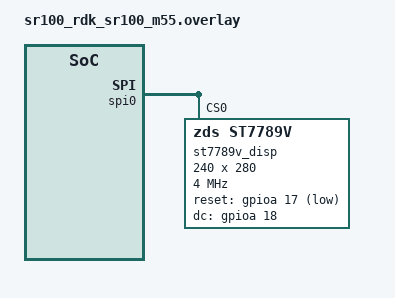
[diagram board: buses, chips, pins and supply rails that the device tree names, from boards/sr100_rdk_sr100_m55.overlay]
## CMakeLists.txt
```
cmake_minimum_required(VERSION 3.20.0)

# Custom "zds,st7789v" devicetree binding (same as Lab 11) -- DTS_ROOT must
# be extended BEFORE find_package(Zephyr...) runs, or the devicetree
# compiler won't find it.
list(APPEND DTS_ROOT ${CMAKE_CURRENT_SOURCE_DIR})

find_package(Zephyr REQUIRED HINTS $ENV{ZEPHYR_BASE})
project(lab12_env_logging_host)

target_sources(app PRIVATE src/main.c)
target_include_directories(app PRIVATE include)
```

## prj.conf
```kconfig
CONFIG_MBOX=y
CONFIG_SPI=y
CONFIG_GPIO=y
# No CONFIG_DISPLAY / CONFIG_CHARACTER_FRAMEBUFFER / CONFIG_ST7789V -- same
# raw-SPI approach as Lab 11 (see that lab's prj.conf comment).
CONFIG_MAIN_STACK_SIZE=4096
# ns16550_uart1 (M55's only UART/console) is disabled in the devicetree
# overlay because SPI0 reuses its pins -- see Lab 11's prj.conf comment
# for why CONFIG_UART_CONSOLE=n/CONFIG_CONSOLE=n (and NOT CONFIG_SERIAL=n)
# is the correct fix.
CONFIG_UART_CONSOLE=n
CONFIG_CONSOLE=n
CONFIG_LOG=y
CONFIG_LOG_DEFAULT_LEVEL=3
CONFIG_PRINTK=y
```

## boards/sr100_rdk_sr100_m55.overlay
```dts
#include <zephyr/dt-bindings/gpio/gpio.h>

/* ipc0 shared-memory-size must match the M4 overlay in remote/boards/ exactly. */
&ipc0 {
	shared-memory-size = <0x400>;
};

/*
 * This lab's sensors (AHT20+BMP280) live on M4's &i2c0, not the shared
 * &i2c1 bus -- so unlike every other lab in this curriculum, M55
 * disabling &i2c1 here isn't strictly required for THIS lab's own
 * sensors. It's kept anyway for consistency with the rest of the
 * curriculum (M55 never uses i2c1 in any lab) and because it's harmless.
 */
&i2c1 {
	status = "disabled";
};

&gpio_exp0 {
	status = "disabled";
};

&ov02c10 {
	status = "disabled";
};

/*
 * ST7789V3 1.69" 240x280 color TFT on M55's SPI0 -- identical setup to
 * Lab 11 (same panel, same wiring, same raw-SPI "zds,st7789v" custom
 * binding). See Lab 11's doc/README for the full rationale (why raw SPI
 * instead of Zephyr's in-tree display driver, the level-shifter
 * requirement, the SPI0 FIFO chunking, and the SPI0/UART1 console pin
 * conflict this creates).
 */
&ns16550_uart1 {
	status = "disabled";
};

&spi0 {
	#address-cells = <1>;
	#size-cells = <0>;
	status = "okay";
	pinctrl-0 = <&spi_mstr_mosi &spi_mstr_miso &spi_mstr_clk &spi_mstr_cs>;
	pinctrl-names = "default";

	st7789v_disp: st7789v@0 {
		compatible = "zds,st7789v";
		reg = <0>;
		spi-max-frequency = <4000000>;
		reset-gpios = <&gpioa 17 GPIO_ACTIVE_LOW>;  /* SoC GPIO17, J24 pin 3 - through level shifter */
		dc-gpios = <&gpioa 18 GPIO_ACTIVE_HIGH>;    /* SoC GPIO18, J24 pin 4 - through level shifter */
		width = <240>;
		height = <280>;
		x-offset = <0>;
		y-offset = <20>;
	};
};
```

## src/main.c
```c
/*
 * Lab 12: AHT20 + BMP280 Environment Logging (HOST, M55)
 *
 * Receives temperature/humidity/pressure telemetry from M4 (the regular
 * 1s averages, the immediate out-of-band jump events, and now the
 * immediate sensor-read-error events) and renders them on the same
 * ST7789V3 TFT hardware setup as Lab 11 (identical panel, identical
 * SPI0/RESET/DC wiring, identical raw-SPI driver -- see this lab's
 * doc/12_aht20_bmp280_logging_kr.md for the full pin table and
 * level-shifter rationale, reproduced there rather than only in Lab 11's
 * doc, since each lab in this curriculum is meant to be buildable and
 * understandable on its own).
 *
 * Two INDEPENDENT fault indicators are shown, because they are two
 * independent failure modes on the M4 side:
 *   1. Connection status (top): did a message of ANY kind arrive from M4
 *      in the last 2 seconds? If not, the mbox/IPC link itself (or the
 *      whole M4 core) is assumed down. This does NOT necessarily mean a
 *      sensor is broken -- M4 could be alive but stuck.
 *   2. Sensor status (just below it): per the LATEST message's
 *      `error_mask`, did AHT20 and/or BMP280 fail their most recent I2C
 *      read? This can be true even while the connection is perfectly
 *      healthy -- M4 is alive and talking, but one of its sensors isn't
 *      answering (loose wire, sensor dropped off the bus, etc).
 * Mixing these two into a single indicator would hide which of "M4 died"
 * vs "a sensor died but M4 is fine" actually happened, so they're kept
 * as two separate lines on screen.
 */

#include <zephyr/kernel.h>
#include <zephyr/device.h>
#include <zephyr/devicetree.h>
#include <zephyr/drivers/spi.h>
#include <zephyr/drivers/gpio.h>
#include <zephyr/drivers/mbox.h>
#include <zephyr/logging/log.h>
#include <zephyr/sys/util.h>
#include <stdbool.h>
#include <stdio.h>
#include <string.h>
#include <stdlib.h>
#include "ipc_common.h"

LOG_MODULE_REGISTER(lab12_host, CONFIG_LOG_DEFAULT_LEVEL);

#define TASK_STACK_SIZE 2048
#define TASK_PRIORITY   4
#define POLL_TIMEOUT_MS 500   /* how often Display_Task checks for a connection timeout */
#define CONN_TIMEOUT_MS 2000  /* no message from M4 for this long -> "disconnected" */

K_THREAD_STACK_DEFINE(task_stack, TASK_STACK_SIZE);
static struct k_thread task_data;
K_MSGQ_DEFINE(env_msgq, sizeof(struct ipc12_env_msg), 4, 4);

#define DISP_NODE DT_NODELABEL(st7789v_disp)

#define PANEL_WIDTH   DT_PROP(DISP_NODE, width)
#define PANEL_HEIGHT  DT_PROP(DISP_NODE, height)
#define X_OFFSET      DT_PROP(DISP_NODE, x_offset)
#define Y_OFFSET      DT_PROP(DISP_NODE, y_offset)

/* ST7789 command set (same subset as Lab 11). */
#define ST7789_SWRESET   0x01
#define ST7789_SLPOUT    0x11
#define ST7789_COLMOD    0x3A
#define ST7789_MADCTL    0x36
#define ST7789_INVON     0x21
#define ST7789_NORON     0x13
#define ST7789_DISPON    0x29
#define ST7789_CASET     0x2A
#define ST7789_RASET     0x2B
#define ST7789_RAMWR     0x2C
#define ST7789_PORCTRL   0xB2
#define ST7789_GCTRL     0xB7
#define ST7789_VCOMS     0xBB
#define ST7789_LCMCTRL   0xC0
#define ST7789_VDVVRHEN  0xC2
#define ST7789_VRHS      0xC3
#define ST7789_VDVS      0xC4
#define ST7789_FRCTRL2   0xC6
#define ST7789_PWCTRL1   0xD0
#define ST7789_PVGAMCTRL 0xE0
#define ST7789_NVGAMCTRL 0xE1

/* RGB565 colors. */
#define COLOR_BLACK   0x0000
#define COLOR_WHITE   0xFFFF
#define COLOR_RED     0xF800
#define COLOR_GREEN   0x07E0
#define COLOR_YELLOW  0xFFE0
#define COLOR_CYAN    0x07FF
#define COLOR_GRAY    0x8410

static const struct spi_dt_spec spi_spec =
	SPI_DT_SPEC_GET(DISP_NODE, SPI_WORD_SET(8) | SPI_TRANSFER_MSB, 0);
static const struct gpio_dt_spec reset_spec = GPIO_DT_SPEC_GET(DISP_NODE, reset_gpios);
static const struct gpio_dt_spec dc_spec = GPIO_DT_SPEC_GET(DISP_NODE, dc_gpios);

/*
 * 5x7 font table. The entries carried over from Lab 11 are marked
 * "(Lab 11)"; everything else added for this lab's unit labels
 * ("T:23.5C", "H:45.2%", "P:1013.2hPa", "OK"/"LOST") is NEW and, like
 * Lab 11's additions, taken from the classic public-domain 5x7
 * "glcdfont" table without individual re-verification against this
 * panel -- check here first if a character looks wrong.
 */
struct glyph {
	char ch;
	uint8_t cols[5];
};

static const struct glyph font5x7[] = {
	{' ', {0x00, 0x00, 0x00, 0x00, 0x00}}, /* (Lab 11) */
	{'-', {0x08, 0x08, 0x08, 0x08, 0x08}}, /* (Lab 11) */
	{':', {0x00, 0x36, 0x36, 0x00, 0x00}}, /* (Lab 11) */
	{'.', {0x00, 0x60, 0x60, 0x00, 0x00}},
	{'%', {0x23, 0x13, 0x08, 0x64, 0x62}},
	{'0', {0x3E, 0x51, 0x49, 0x45, 0x3E}}, /* (Lab 11) */
	{'1', {0x00, 0x42, 0x7F, 0x40, 0x00}}, /* (Lab 11) */
	{'2', {0x62, 0x51, 0x49, 0x49, 0x46}}, /* (Lab 11) */
	{'3', {0x22, 0x41, 0x49, 0x49, 0x36}}, /* (Lab 11) */
	{'4', {0x18, 0x14, 0x12, 0x7F, 0x10}}, /* (Lab 11) */
	{'5', {0x27, 0x45, 0x45, 0x45, 0x39}}, /* (Lab 11) */
	{'6', {0x3C, 0x4A, 0x49, 0x49, 0x30}}, /* (Lab 11) */
	{'7', {0x01, 0x71, 0x09, 0x05, 0x03}}, /* (Lab 11) */
	{'8', {0x36, 0x49, 0x49, 0x49, 0x36}}, /* (Lab 11) */
	{'9', {0x06, 0x49, 0x49, 0x29, 0x1E}}, /* (Lab 11) */
	{'A', {0x7E, 0x11, 0x11, 0x11, 0x7E}}, /* (Lab 11) */
	{'B', {0x7F, 0x49, 0x49, 0x49, 0x36}}, /* (Lab 11) */
	{'C', {0x3E, 0x41, 0x41, 0x41, 0x22}},
	{'D', {0x7F, 0x41, 0x41, 0x22, 0x1C}},
	{'E', {0x7F, 0x49, 0x49, 0x49, 0x41}}, /* (Lab 11) */
	{'H', {0x7F, 0x08, 0x08, 0x08, 0x7F}},
	{'I', {0x00, 0x41, 0x7F, 0x41, 0x00}},
	{'K', {0x7F, 0x08, 0x14, 0x22, 0x41}},
	{'L', {0x7F, 0x40, 0x40, 0x40, 0x40}}, /* (Lab 11) */
	{'N', {0x7F, 0x02, 0x04, 0x08, 0x7F}},
	{'O', {0x3E, 0x41, 0x41, 0x41, 0x3E}},
	{'P', {0x7F, 0x09, 0x09, 0x09, 0x06}},
	{'Q', {0x3E, 0x41, 0x51, 0x21, 0x5E}}, /* (Lab 11) */
	{'R', {0x7F, 0x09, 0x19, 0x29, 0x46}}, /* (Lab 11) */
	{'S', {0x46, 0x49, 0x49, 0x49, 0x31}}, /* (Lab 11) */
	{'T', {0x01, 0x01, 0x7F, 0x01, 0x01}},
	{'V', {0x1F, 0x20, 0x40, 0x20, 0x1F}}, /* (Lab 11) */
	{'X', {0x63, 0x14, 0x08, 0x14, 0x63}}, /* (Lab 11) */
	{'Y', {0x07, 0x08, 0x70, 0x08, 0x07}}, /* (Lab 11) */
	{'Z', {0x61, 0x51, 0x49, 0x45, 0x43}}, /* (Lab 11) */
	{'a', {0x20, 0x54, 0x54, 0x54, 0x78}},
	{'h', {0x7F, 0x08, 0x04, 0x04, 0x78}},
};

static const uint8_t *glyph_lookup(char c)
{
	static const uint8_t blank[5] = {0x00, 0x00, 0x00, 0x00, 0x00};

	for (size_t i = 0; i < ARRAY_SIZE(font5x7); i++) {
		if (font5x7[i].ch == c) {
			return font5x7[i].cols;
		}
	}
	return blank;
}

/* SR110 SPI0's 8-byte hardware FIFO limit -- see Lab 11 for the full
 * explanation. Every send chunks to this size. */
#define ST7789_CHUNK_BYTES 8

static int st7789_send(int dc_value, const uint8_t *data, size_t len)
{
	int ret;

	gpio_pin_set_dt(&dc_spec, dc_value);

	while (len) {
		size_t chunk = MIN(len, ST7789_CHUNK_BYTES);
		struct spi_buf buf = { .buf = (void *)data, .len = chunk };
		struct spi_buf_set set = { .buffers = &buf, .count = 1 };

		ret = spi_write_dt(&spi_spec, &set);
		if (ret) {
			LOG_ERR("spi_write_dt(dc=%d, len=%zu) failed, ret=%d", dc_value, chunk, ret);
			return ret;
		}
		data += chunk;
		len -= chunk;
	}

	return 0;
}

static int st7789_write_cmd(uint8_t cmd)
{
	return st7789_send(0, &cmd, 1);
}

static int st7789_write_data(const uint8_t *data, size_t len)
{
	return st7789_send(1, data, len);
}

static int st7789_reset(void)
{
	int ret = gpio_pin_configure_dt(&reset_spec, GPIO_OUTPUT_INACTIVE);

	if (ret) {
		return ret;
	}
	k_sleep(K_MSEC(10));
	gpio_pin_set_dt(&reset_spec, 1);
	k_sleep(K_MSEC(10));
	gpio_pin_set_dt(&reset_spec, 0);
	k_sleep(K_MSEC(150));

	return 0;
}

struct st7789_init_cmd {
	uint8_t cmd;
	uint8_t num_args;
	uint8_t args[16];
	uint16_t delay_ms;
};

static const struct st7789_init_cmd init_seq[] = {
	{ ST7789_SWRESET,   0, {0}, 150 },
	{ ST7789_SLPOUT,    0, {0}, 255 },
	{ ST7789_COLMOD,    1, {0x55}, 10 },
	{ ST7789_PORCTRL,   5, {0x0C, 0x0C, 0x00, 0x33, 0x33}, 0 },
	{ ST7789_GCTRL,     1, {0x35}, 0 },
	{ ST7789_VCOMS,     1, {0x28}, 0 },
	{ ST7789_LCMCTRL,   1, {0x0C}, 0 },
	{ ST7789_VDVVRHEN,  2, {0x01, 0xFF}, 0 },
	{ ST7789_VRHS,      1, {0x10}, 0 },
	{ ST7789_VDVS,      1, {0x20}, 0 },
	{ ST7789_FRCTRL2,   1, {0x0F}, 0 },
	{ ST7789_PWCTRL1,   2, {0xA4, 0xA1}, 0 },
	{ ST7789_MADCTL,    1, {0x00}, 0 },
	{ ST7789_INVON,     0, {0}, 10 },
	{ ST7789_PVGAMCTRL, 14, {0xD0, 0x00, 0x02, 0x07, 0x0A, 0x28, 0x32, 0x44,
				 0x42, 0x06, 0x0E, 0x12, 0x14, 0x17}, 0 },
	{ ST7789_NVGAMCTRL, 14, {0xD0, 0x00, 0x02, 0x07, 0x05, 0x25, 0x2D, 0x44,
				 0x45, 0x10, 0x0E, 0x12, 0x13, 0x17}, 0 },
	{ ST7789_NORON,     0, {0}, 10 },
	{ ST7789_DISPON,    0, {0}, 100 },
};

static int st7789_init(void)
{
	int ret;

	for (size_t i = 0; i < ARRAY_SIZE(init_seq); i++) {
		ret = st7789_write_cmd(init_seq[i].cmd);
		if (ret) return ret;

		if (init_seq[i].num_args) {
			ret = st7789_write_data(init_seq[i].args, init_seq[i].num_args);
			if (ret) return ret;
		}
		if (init_seq[i].delay_ms) {
			k_sleep(K_MSEC(init_seq[i].delay_ms));
		}
	}

	return 0;
}

static int st7789_set_addr_window(uint16_t x0, uint16_t y0, uint16_t x1, uint16_t y1)
{
	uint16_t xs = x0 + X_OFFSET, xe = x1 + X_OFFSET;
	uint16_t ys = y0 + Y_OFFSET, ye = y1 + Y_OFFSET;
	uint8_t caset[4] = { xs >> 8, xs & 0xFF, xe >> 8, xe & 0xFF };
	uint8_t raset[4] = { ys >> 8, ys & 0xFF, ye >> 8, ye & 0xFF };
	int ret;

	ret = st7789_write_cmd(ST7789_CASET);
	if (ret) return ret;
	ret = st7789_write_data(caset, sizeof(caset));
	if (ret) return ret;

	ret = st7789_write_cmd(ST7789_RASET);
	if (ret) return ret;
	ret = st7789_write_data(raset, sizeof(raset));
	if (ret) return ret;

	return st7789_write_cmd(ST7789_RAMWR);
}

static int st7789_fill_rect(uint16_t x, uint16_t y, uint16_t w, uint16_t h, uint16_t color)
{
	uint8_t row[PANEL_WIDTH * 2];
	int ret;

	ret = st7789_set_addr_window(x, y, x + w - 1, y + h - 1);
	if (ret) return ret;

	for (uint16_t i = 0; i < w; i++) {
		row[i * 2] = color >> 8;
		row[i * 2 + 1] = color & 0xFF;
	}

	for (uint16_t line = 0; line < h; line++) {
		ret = st7789_write_data(row, (size_t)w * 2);
		if (ret) return ret;
	}

	return 0;
}

static int st7789_draw_char(uint16_t x, uint16_t y, char c, uint16_t fg, uint16_t bg, uint8_t scale)
{
	const uint8_t *glyph = glyph_lookup(c);
	uint8_t row[5 * 8 * 2];
	int ret;

	ret = st7789_set_addr_window(x, y, x + 5 * scale - 1, y + 7 * scale - 1);
	if (ret) return ret;

	for (uint8_t srow = 0; srow < 7; srow++) {
		for (uint8_t scol = 0; scol < 5; scol++) {
			bool on = (glyph[scol] >> srow) & 0x1;
			uint16_t color = on ? fg : bg;

			for (uint8_t sx = 0; sx < scale; sx++) {
				size_t idx = (scol * scale + sx) * 2;

				row[idx] = color >> 8;
				row[idx + 1] = color & 0xFF;
			}
		}
		for (uint8_t sy = 0; sy < scale; sy++) {
			ret = st7789_write_data(row, (size_t)5 * scale * 2);
			if (ret) return ret;
		}
	}

	return 0;
}

static int st7789_draw_string(uint16_t x, uint16_t y, const char *str, uint16_t fg, uint16_t bg, uint8_t scale)
{
	int ret;

	while (*str) {
		ret = st7789_draw_char(x, y, *str++, fg, bg, scale);
		if (ret) return ret;
		x += 6 * scale;
	}
	return 0;
}

/* Prints one line padded with spaces to a fixed width, so a shorter new
 * value fully overwrites a longer old one without a separate clear. */
static void draw_line(uint16_t x, uint16_t y, const char *text, uint16_t fg, size_t width)
{
	char padded[24];
	size_t len = strlen(text);

	if (width >= sizeof(padded)) {
		width = sizeof(padded) - 1;
	}
	if (len > width) {
		len = width;
	}
	memcpy(padded, text, len);
	for (size_t i = len; i < width; i++) {
		padded[i] = ' ';
	}
	padded[width] = '\0';

	st7789_draw_string(x, y, padded, fg, COLOR_BLACK, 2);
}

/* Formats a milli-unit fixed-point value as "[-]W.F" (one decimal digit)
 * into `out` -- avoids depending on floating-point printf support. */
static void format_milli_1dp(int32_t milli, char *out, size_t outsz)
{
	bool neg = milli < 0;
	int32_t m = neg ? -milli : milli;
	int32_t whole = m / 1000;
	int32_t frac = (m % 1000) / 100;

	snprintf(out, outsz, "%s%d.%d", neg ? "-" : "", whole, frac);
}

enum conn_state { CONN_WAITING, CONN_OK, CONN_LOST };

static void draw_status(enum conn_state state)
{
	uint16_t icon_color;
	const char *label;

	switch (state) {
	case CONN_OK:
		icon_color = COLOR_GREEN;
		label = "OK";
		break;
	case CONN_LOST:
		icon_color = COLOR_RED;
		label = "LOST";
		break;
	default:
		icon_color = COLOR_GRAY;
		label = "WAIT";
		break;
	}

	/* Simple filled-square "icon" (this font/driver has no circle
	 * primitive) plus a short text label -- covers both the "icon if
	 * possible" and "text otherwise" request at once. */
	st7789_fill_rect(10, 40, 16, 16, icon_color);
	draw_line(34, 40, label, COLOR_WHITE, 6);
}

/*
 * Separate from draw_status() above on purpose -- see the file header
 * comment for why connection health and sensor health are shown as two
 * independent indicators instead of one. error_mask bits come straight
 * from the M4-side IPC12_ERROR_* flags: bit0 = AHT20 failing its most
 * recent read, bit1 = BMP280 failing its most recent read.
 */
static void draw_sensor_status(uint8_t error_mask)
{
	uint16_t icon_color;
	const char *label;

	if (!error_mask) {
		icon_color = COLOR_GREEN;
		label = "SENSOR OK";
	} else if ((error_mask & (IPC12_ERROR_AHT20 | IPC12_ERROR_BMP280)) ==
		   (IPC12_ERROR_AHT20 | IPC12_ERROR_BMP280)) {
		icon_color = COLOR_RED;
		label = "SENSOR ERR"; /* both sensors failing */
	} else if (error_mask & IPC12_ERROR_AHT20) {
		icon_color = COLOR_RED;
		label = "AHT20 ERR";
	} else {
		icon_color = COLOR_RED;
		label = "BMP280 ERR";
	}

	st7789_fill_rect(10, 62, 16, 16, icon_color);
	draw_line(34, 62, label, COLOR_WHITE, 11);
}

static void rx_cb(const struct device *dev, mbox_channel_id_t channel_id,
		   void *user_data, struct mbox_msg *data)
{
	struct ipc12_env_msg msg;

	ARG_UNUSED(dev);
	ARG_UNUSED(channel_id);
	ARG_UNUSED(user_data);

	if (data->size < sizeof(msg)) {
		return;
	}
	memcpy(&msg, data->data, sizeof(msg));
	/* SPI drawing blocks -- ISR only enqueues, Display_Task does the work. */
	k_msgq_put(&env_msgq, &msg, K_NO_WAIT);
}

static void task_entry(void *p1, void *p2, void *p3)
{
	struct ipc12_env_msg msg;
	char line[24];
	int64_t last_rx_uptime = 0;
	bool ever_connected = false;
	enum conn_state state = CONN_WAITING;

	LOG_INF("[Display_Task] started");

	if (!spi_is_ready_dt(&spi_spec)) {
		LOG_ERR("SPI0 device not ready - check devicetree status/overlay");
		return;
	}
	if (!gpio_is_ready_dt(&reset_spec) || !gpio_is_ready_dt(&dc_spec)) {
		LOG_ERR("RST/DC GPIO controller not ready");
		return;
	}
	if (gpio_pin_configure_dt(&dc_spec, GPIO_OUTPUT_INACTIVE)) {
		LOG_ERR("DC GPIO configure failed");
		return;
	}
	if (st7789_reset()) {
		LOG_ERR("Panel reset failed - check RST wiring");
		return;
	}
	if (st7789_init()) {
		LOG_ERR("ST7789 init failed (SPI write error) - check wiring / level shifter");
		return;
	}

	st7789_fill_rect(0, 0, PANEL_WIDTH, PANEL_HEIGHT, COLOR_BLACK);
	st7789_draw_string(10, 10, "LAB12 ENV", COLOR_YELLOW, COLOR_BLACK, 2);
	draw_status(CONN_WAITING);
	draw_sensor_status(0);
	draw_line(10, 90, "T:--", COLOR_WHITE, 12);
	draw_line(10, 120, "H:--", COLOR_WHITE, 12);
	draw_line(10, 150, "P:--", COLOR_WHITE, 12);

	while (1) {
		int ret = k_msgq_get(&env_msgq, &msg, K_MSEC(POLL_TIMEOUT_MS));

		if (ret == 0) {
			last_rx_uptime = k_uptime_get();
			ever_connected = true;
			if (state != CONN_OK) {
				state = CONN_OK;
				draw_status(state);
			}

			char temp_str[8], hum_str[8], press_str[8];
			bool have_aht20 = (msg.sensor_mask & IPC12_SENSOR_AHT20) != 0;
			bool have_bmp280 = (msg.sensor_mask & IPC12_SENSOR_BMP280) != 0;
			bool aht20_failing = (msg.error_mask & IPC12_ERROR_AHT20) != 0;
			bool bmp280_failing = (msg.error_mask & IPC12_ERROR_BMP280) != 0;

			draw_sensor_status(msg.error_mask);

			/* Temperature: AHT20 is the primary source. Fall back to
			 * BMP280's own temperature reading whenever AHT20 wasn't
			 * found at boot at all, OR it was found but is currently
			 * failing to read (error_mask) -- in both cases the
			 * `temp_milli_c` field already carries BMP280's value,
			 * see M4's main.c. Only if BOTH possible sources are
			 * unavailable/failing do we show an outright error. */
			if (have_aht20 && !aht20_failing) {
				format_milli_1dp(msg.temp_milli_c, temp_str, sizeof(temp_str));
				snprintf(line, sizeof(line), "T:%sC", temp_str);
			} else if (have_bmp280 && !bmp280_failing) {
				format_milli_1dp(msg.temp_milli_c, temp_str, sizeof(temp_str));
				snprintf(line, sizeof(line), "T:%sC(bmp)", temp_str);
			} else if (have_aht20 || have_bmp280) {
				/* Detected at boot, but every temperature source is
				 * currently failing to read. */
				snprintf(line, sizeof(line), "T:ERR");
			} else {
				snprintf(line, sizeof(line), "T:N/A");
			}
			draw_line(10, 90, line, COLOR_RED, 12);

			/* Humidity has no fallback sensor -- AHT20 or nothing. */
			if (have_aht20 && !aht20_failing) {
				format_milli_1dp(msg.humidity_milli_pct, hum_str, sizeof(hum_str));
				snprintf(line, sizeof(line), "H:%s%%", hum_str);
			} else if (have_aht20) {
				snprintf(line, sizeof(line), "H:ERR");
			} else {
				snprintf(line, sizeof(line), "H:N/A");
			}
			draw_line(10, 120, line, COLOR_GREEN, 12);

			/* Pressure has no fallback sensor -- BMP280 or nothing. */
			if (have_bmp280 && !bmp280_failing) {
				format_milli_1dp(msg.pressure_milli_hpa, press_str, sizeof(press_str));
				snprintf(line, sizeof(line), "P:%shPa", press_str);
			} else if (have_bmp280) {
				snprintf(line, sizeof(line), "P:ERR");
			} else {
				snprintf(line, sizeof(line), "P:N/A");
			}
			draw_line(10, 150, line, COLOR_CYAN, 12);

			LOG_INF("[Display_Task] seq=%u reason=%u mask=0x%x err=0x%x temp=%d hum=%d press=%d",
				msg.seq, msg.reason, msg.sensor_mask, msg.error_mask,
				msg.temp_milli_c, msg.humidity_milli_pct, msg.pressure_milli_hpa);
		} else if (ever_connected && state != CONN_LOST &&
			   (k_uptime_get() - last_rx_uptime) >= CONN_TIMEOUT_MS) {
			state = CONN_LOST;
			draw_status(state);
			LOG_WRN("[Display_Task] no message from M4 in %d ms - marked disconnected",
				CONN_TIMEOUT_MS);
		}
	}
}

int main(void)
{
	struct mbox_dt_spec rx_channel;

	LOG_INF("Lab12 Env Logging HOST - %s", CONFIG_BOARD_TARGET);

	rx_channel = (struct mbox_dt_spec)MBOX_DT_SPEC_GET(DT_PATH(mbox_consumer), rx);

	if (mbox_register_callback_dt(&rx_channel, rx_cb, NULL)) {
		LOG_ERR("mbox_register_callback() failed");
		return -EIO;
	}
	if (mbox_set_enabled_dt(&rx_channel, 1)) {
		LOG_ERR("mbox_set_enabled() failed");
		return -EIO;
	}

	k_thread_create(&task_data, task_stack, K_THREAD_STACK_SIZEOF(task_stack),
			task_entry, NULL, NULL, NULL, TASK_PRIORITY, 0, K_NO_WAIT);
	k_thread_name_set(&task_data, "Display_Task");

	while (1) {
		k_sleep(K_FOREVER);
	}
	return 0;
}
```

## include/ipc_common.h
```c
#ifndef IPC_COMMON_H_
#define IPC_COMMON_H_
#include <zephyr/kernel.h>

/* sensor_mask: which sensors were detected (probed successfully) at boot.
 * This never changes after main() finishes its startup scan -- it does
 * NOT mean "still working right now", only "was found on the bus". */
#define IPC12_SENSOR_AHT20   BIT(0)
#define IPC12_SENSOR_BMP280  BIT(1)

/* error_mask: which sensors FAILED TO READ on the sample that produced
 * this specific message (or, for a periodic-average message, on the most
 * recent 200ms tick of the averaging window). This is the field that
 * distinguishes "sensor never found at boot" (sensor_mask bit clear,
 * error_mask meaningless) from "sensor was found at boot but is
 * currently failing to answer I2C" (sensor_mask bit set, error_mask bit
 * set) -- the latter is a NEW runtime fault M55 should show as an error,
 * separate from the mbox connection-timeout check. */
#define IPC12_ERROR_AHT20    BIT(0)
#define IPC12_ERROR_BMP280   BIT(1)

enum ipc12_reason {
	IPC12_REASON_PERIODIC = 0,       /* normal 1-second rolling average */
	IPC12_REASON_TEMP_JUMP = 1,      /* single-sample temp jump >= 0.5C */
	IPC12_REASON_PRESSURE_JUMP = 2,  /* single-sample pressure jump >= 50hPa */
	IPC12_REASON_SENSOR_ERROR = 3,   /* error_mask changed (onset or recovery) */
};

struct ipc12_env_msg {
	int32_t temp_milli_c;
	int32_t humidity_milli_pct;
	int32_t pressure_milli_hpa;
	uint32_t seq;
	uint8_t sensor_mask;
	uint8_t error_mask;
	uint8_t reason;
};
#endif
```
